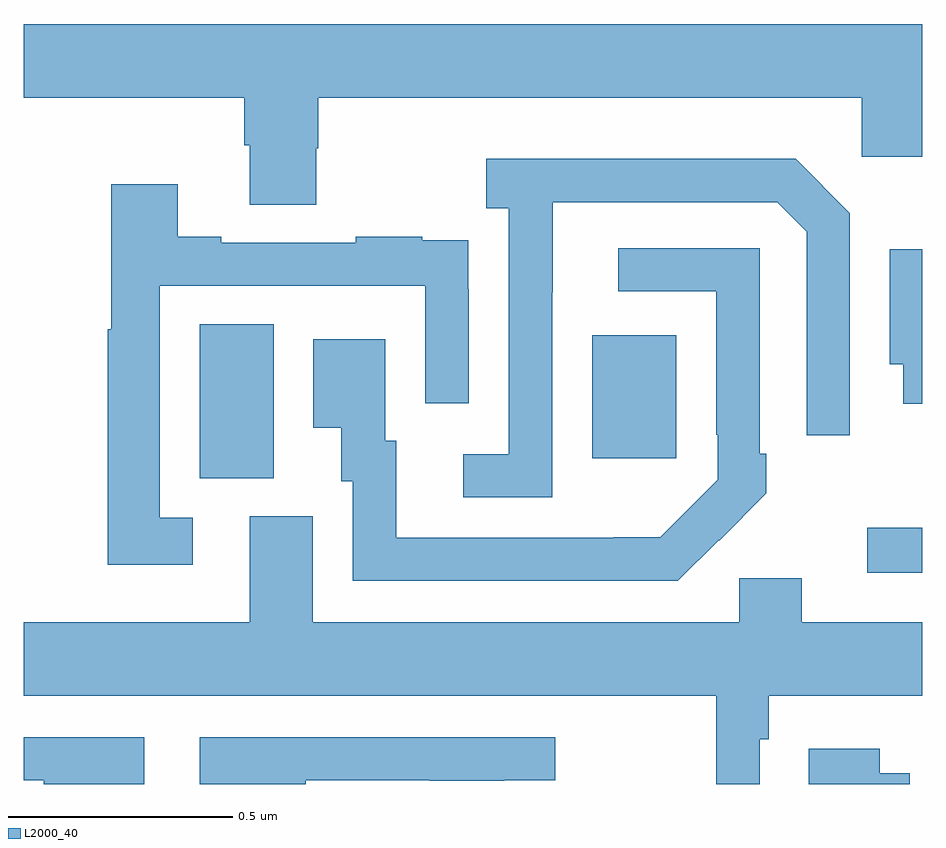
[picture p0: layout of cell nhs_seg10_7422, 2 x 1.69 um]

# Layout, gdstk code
import gdstk
lib = gdstk.Library(unit=1e-6, precision=1e-09)
def R(c, l, rs):  # rectangles x0, y0, x1, y1
    for r in rs: c.add(gdstk.rectangle(r[:2], r[2:], *l))
def P(c, l, *ps):  # polygons
    for p in ps: c.add(gdstk.Polygon(p, *l))
L2000_40 = (2000, 40)

nhs_seg10_7422 = lib.new_cell('nhs_seg10_7422')
R(nhs_seg10_7422, L2000_40, [(205.878,1253.97,206,1254.071), (204.392,1254.181,204.556,1254.524), (205.265,1254.225,205.453,1254.499)])
P(nhs_seg10_7422, L2000_40, [(204,1255.028),(204.491,1255.028),(204.491,1254.922),(204.503,1254.922),(204.503,1254.79),(204.651,1254.79),(204.651,1254.915),(204.656,1254.915),(204.656,1255.028),(205.866,1255.028),(205.866,1254.897),(206,1254.897),(206,1255.192),(204,1255.192)],
  [(205.176,1254.595),(205.177,1254.595),(205.177,1254.795),(205.677,1254.795),(205.743,1254.729),(205.743,1254.276),(205.839,1254.276),(205.839,1254.771),(205.718,1254.892),(205.029,1254.892),(205.029,1254.782),(205.08,1254.782),(205.08,1254.234),(204.978,1254.234),(204.978,1254.138),(205.176,1254.138)],
  [(204.376,1254.093),(204.303,1254.093),(204.303,1254.609),(204.894,1254.609),(204.894,1254.348),(204.99,1254.348),(204.99,1254.602),(204.989,1254.602),(204.989,1254.711),(204.887,1254.711),(204.887,1254.718),(204.739,1254.718),(204.739,1254.705),(204.439,1254.705),(204.439,1254.718),(204.343,1254.718),(204.343,1254.835),(204.195,1254.835),(204.195,1254.512),(204.187,1254.512),(204.187,1253.988),(204.376,1253.988)],
  [(205.547,1254.043),(205.548,1254.042),(205.653,1254.147),(205.653,1254.235),(205.638,1254.235),(205.638,1254.693),(205.323,1254.693),(205.323,1254.597),(205.542,1254.597),(205.542,1254.277),(205.545,1254.277),(205.545,1254.177),(205.417,1254.049),(205.313,1254.049),(205.313,1254.048),(204.829,1254.048),(204.829,1254.264),(204.805,1254.264),(204.805,1254.49),(204.644,1254.49),(204.644,1254.293),(204.707,1254.293),(204.707,1254.174),(204.732,1254.174),(204.732,1253.952),(205.456,1253.952)],
  [(206,1254.691),(205.928,1254.691),(205.928,1254.434),(205.958,1254.434),(205.958,1254.347),(206,1254.347)],
  [(205.638,1253.6),(205.658,1253.6),(205.658,1253.696),(206,1253.696),(206,1253.86),(205.732,1253.86),(205.732,1253.958),(205.593,1253.958),(205.593,1253.86),(204.643,1253.86),(204.643,1254.096),(204.503,1254.096),(204.503,1253.86),(204,1253.86),(204,1253.696),(205.541,1253.696),(205.541,1253.5),(205.638,1253.5)],
  [(204.268,1253.604),(204,1253.604),(204,1253.508),(204.044,1253.508),(204.044,1253.5),(204.268,1253.5)],
  [(204.628,1253.508),(204.904,1253.508),(204.904,1253.507),(205.07,1253.507),(205.07,1253.508),(205.183,1253.508),(205.183,1253.604),(204.392,1253.604),(204.392,1253.5),(204.628,1253.5)],
  [(205.972,1253.524),(205.906,1253.524),(205.906,1253.578),(205.748,1253.578),(205.748,1253.5),(205.972,1253.5)])

lib.write_gds('nhs_seg10_7422.gds')
